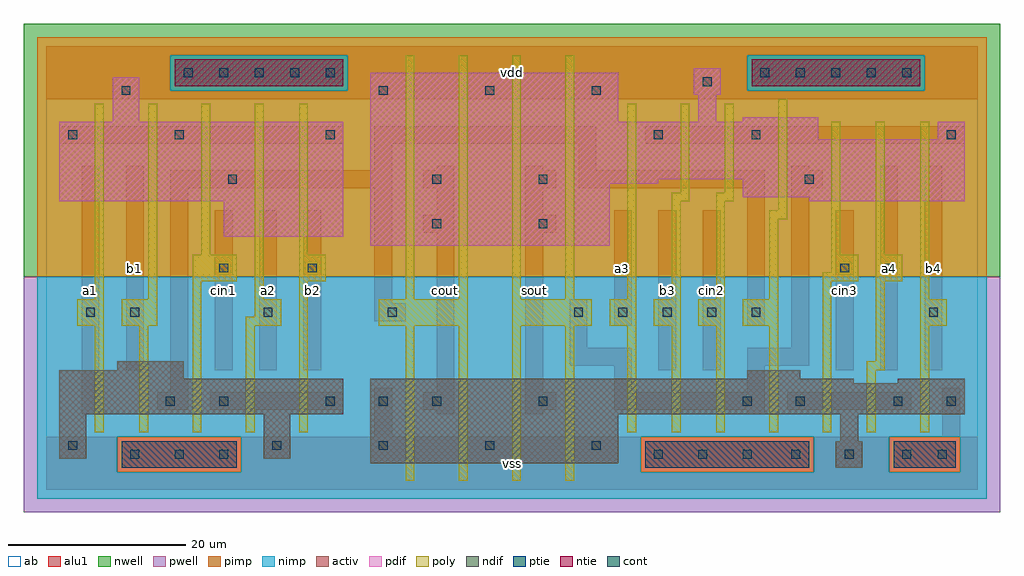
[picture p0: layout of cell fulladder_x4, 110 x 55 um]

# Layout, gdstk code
import gdstk
lib = gdstk.Library(unit=1e-6, precision=1e-09)
def R(c, l, rs):  # rectangles x0, y0, x1, y1
    for r in rs: c.add(gdstk.rectangle(r[:2], r[2:], *l))
def A(c, l, x, y, w, h, nx, ny, dx, dy):  # array of equal rectangles
    R(c, l, [(x+i*dx, y+j*dy, x+i*dx+w, y+j*dy+h) for i in range(nx) for j in range(ny)])
ndif = (3, 0)
pdif = (4, 0)
ntie = (5, 0)
ptie = (6, 0)
cont = (25, 0)
pwell = (41, 0)
nwell = (42, 0)
activ = (43, 0)
pimp = (44, 0)
nimp = (45, 0)
poly = (46, 0)
alu1 = (49, 0)
ab = (63, 0)

fulladder_x4 = lib.new_cell('fulladder_x4')
R(fulladder_x4, ndif, [(89,2.5,92,5.5), (36.5,3,64.5,8.5), (1.5,3.5,4.5,8.5), (24.5,3.5,27.5,8.5), (89.5,5.5,91.5,8.5), (1.5,8.5,33.5,12.5), (36.5,8.5,103.5,12), (36.5,12,91,12.5), (96,12,103.5,12.5), (1.5,12.5,15.5,13.5), (79,12.5,85,13.5), (8,13.5,15.5,14.5)])
R(fulladder_x4, pdif, [(36.5,27.5,63.5,34.5), (20,28.5,33.5,32.5), (1.5,32.5,33.5,41.5), (86,32.5,103.5,33), (78.5,33,103.5,35), (36.5,34.5,69,35), (36.5,35,103.5,39.5), (36.5,39.5,87,41.5), (100.5,39.5,103.5,41.5), (7.5,41.5,10.5,46.5), (36.5,41.5,64.5,47), (73.5,41.5,75.5,44.5), (78.5,41.5,87,42), (73,44.5,76,47.5)])
R(fulladder_x4, ntie, [(14.5,45.5,33.5,48.5), (79.5,45.5,98.5,48.5)])
R(fulladder_x4, ptie, [(8.5,2.5,21.5,5.5), (67.5,2.5,86,5.5), (95.5,2.5,102.5,5.5)])
A(fulladder_x4, cont, 9.5, 3.5, 1, 1, 3, 1, 5, 0)
A(fulladder_x4, cont, 68.5, 3.5, 1, 1, 3, 1, 5, 0)
A(fulladder_x4, cont, 25.5, 4.5, 1, 1, 4, 1, 12, 0)
A(fulladder_x4, cont, 31.5, 9.5, 1, 1, 3, 1, 6, 0)
A(fulladder_x4, cont, 59.5, 19.5, 1, 1, 5, 1, 5, 0)
A(fulladder_x4, cont, 37.5, 44.5, 1, 1, 3, 1, 12, 0)
A(fulladder_x4, cont, 15.5, 46.5, 1, 1, 5, 1, 4, 0)
A(fulladder_x4, cont, 80.5, 46.5, 1, 1, 5, 1, 4, 0)
R(fulladder_x4, cont, [(84,3.5,85,4.5), (90,3.5,91,4.5), (96.5,3.5,97.5,4.5), (100.5,3.5,101.5,4.5), (2.5,4.5,3.5,5.5), (13.5,9.5,14.5,10.5), (19.5,9.5,20.5,10.5), (55.5,9.5,56.5,10.5), (78.5,9.5,79.5,10.5), (84.5,9.5,85.5,10.5), (95.5,9.5,96.5,10.5), (101.5,9.5,102.5,10.5), (4.5,19.5,5.5,20.5), (9.5,19.5,10.5,20.5), (24.5,19.5,25.5,20.5), (38.5,19.5,39.5,20.5), (99.5,19.5,100.5,20.5), (19.5,24.5,20.5,25.5), (29.5,24.5,30.5,25.5), (89.5,24.5,90.5,25.5), (94.5,24.5,95.5,25.5), (43.5,29.5,44.5,30.5), (55.5,29.5,56.5,30.5), (20.5,34.5,21.5,35.5), (43.5,34.5,44.5,35.5), (55.5,34.5,56.5,35.5), (85.5,34.5,86.5,35.5), (2.5,39.5,3.5,40.5), (14.5,39.5,15.5,40.5), (31.5,39.5,32.5,40.5), (68.5,39.5,69.5,40.5), (79.5,39.5,80.5,40.5), (101.5,39.5,102.5,40.5), (8.5,44.5,9.5,45.5), (74,45.5,75,46.5)])
R(fulladder_x4, pwell, [(-2.5,-2.5,107.5,24)])
R(fulladder_x4, nwell, [(-2.5,24,107.5,52.5)])
R(fulladder_x4, activ, [(8.5,2.5,21.5,5.5), (67.5,2.5,86,5.5), (89,2.5,92,5.5), (95.5,2.5,102.5,5.5), (36.5,3,64.5,8.5), (1.5,3.5,4.5,8.5), (24.5,3.5,27.5,8.5), (89.5,5.5,91.5,8.5), (1.5,8.5,33.5,12.5), (36.5,8.5,103.5,12), (36.5,12,91,12.5), (96,12,103.5,12.5), (1.5,12.5,15.5,13.5), (79,12.5,85,13.5), (8,13.5,15.5,14.5), (36.5,27.5,63.5,34.5), (20,28.5,33.5,32.5), (1.5,32.5,33.5,41.5), (86,32.5,103.5,33), (78.5,33,103.5,35), (36.5,34.5,69,35), (36.5,35,103.5,39.5), (36.5,39.5,87,41.5), (100.5,39.5,103.5,41.5), (7.5,41.5,10.5,46.5), (36.5,41.5,64.5,47), (73.5,41.5,75.5,44.5), (78.5,41.5,87,42), (73,44.5,76,47.5), (14.5,45.5,33.5,48.5), (79.5,45.5,98.5,48.5)])
R(fulladder_x4, pimp, [(8,2,22,6), (67,2,86.5,6), (95,2,103,6), (-1,24,106,45), (-1,45,14,49), (34,45,79,49), (99,45,106,49), (-1,49,106,51)])
R(fulladder_x4, nimp, [(-1,-1,106,2), (-1,2,8,6), (22,2,67,6), (86.5,2,95,6), (103,2,106,6), (-1,6,106,24), (14,45,34,49), (79,45,99,49)])
A(fulladder_x4, poly, 40.5, 1, 1, 17.5, 4, 1, 6, 0)
A(fulladder_x4, poly, 65.5, 6.5, 1, 12, 3, 1, 5, 0)
A(fulladder_x4, poly, 63.5, 18.5, 3, 3, 3, 1, 5, 0)
A(fulladder_x4, poly, 40.5, 21.5, 1, 27.5, 4, 1, 6, 0)
R(fulladder_x4, poly, [(5.5,6.5,6.5,18.5), (10.5,6.5,11.5,18.5), (16.5,6.5,17.5,23.5), (22.5,6.5,23.5,18.5), (28.5,6.5,29.5,23.5), (81.5,6.5,82.5,18.5), (87.5,6.5,88.5,23.5), (92.5,6.5,93.5,13.5), (98.5,6.5,99.5,18.5), (92.5,13.5,94.5,14.5), (93.5,14.5,94.5,23.5), (3.5,18.5,6.5,21.5), (8.5,18.5,12.5,21.5), (22.5,18.5,26.5,19.5), (37.5,18.5,47.5,21.5), (52.5,18.5,61.5,21.5), (78.5,18.5,82.5,21.5), (98.5,18.5,101.5,21.5), (23.5,19.5,26.5,21.5), (5.5,21.5,6.5,43.5), (11.5,21.5,12.5,43.5), (23.5,21.5,24.5,43.5), (65.5,21.5,66.5,43.5), (70.5,21.5,71.5,32.5), (75.5,21.5,76.5,32.5), (81.5,21.5,82.5,30.5), (98.5,21.5,99.5,41.5), (16.5,23.5,21.5,26.5), (28.5,23.5,31.5,26.5), (87.5,23.5,91.5,24.5), (93.5,23.5,96.5,26.5), (88.5,24.5,91.5,26.5), (17.5,26.5,18.5,43.5), (28.5,26.5,29.5,43.5), (88.5,26.5,89.5,41.5), (93.5,26.5,94.5,41.5), (81.5,30.5,83.5,31.5), (82.5,31.5,83.5,44), (70.5,32.5,72.5,33.5), (75.5,32.5,77.5,33.5), (71.5,33.5,72.5,43.5), (76.5,33.5,77.5,43.5)])
R(fulladder_x4, alu1, [(0,0,105,6), (0,0,105,6), (37,6,39,11.5), (37,6,39,11.5), (101,6,103,11.5), (101,6,103,11.5), (4,8.5,6,36.5), (4,8.5,6,36.5), (44,8.5,46,9), (44,8.5,46,9), (54,8.5,56,9), (54,8.5,56,9), (79,8.5,81,9), (79,8.5,81,9), (12.5,9,16,11), (12.5,9,16,11), (18.5,9,33.5,11), (18.5,9,33.5,11), (42.5,9,46,11), (42.5,9,46,11), (54,9,57.5,11), (54,9,57.5,11), (64,9,81,11), (64,9,81,11), (83.5,9,97.5,11), (83.5,9,97.5,11), (14,11,16,34), (14,11,16,34), (44,11,46,29), (44,11,46,29), (54,11,56,29), (54,11,56,29), (64,11,66,14), (64,11,66,14), (79,11,81,14), (79,11,81,14), (9,13.5,11,36.5), (9,13.5,11,36.5), (19,13.5,21,31.5), (19,13.5,21,31.5), (24,13.5,26,31.5), (24,13.5,26,31.5), (29,13.5,31,31.5), (29,13.5,31,31.5), (69,13.5,71,31.5), (69,13.5,71,31.5), (74,13.5,76,31.5), (74,13.5,76,31.5), (89,13.5,91,31.5), (89,13.5,91,31.5), (94,13.5,96,36.5), (94,13.5,96,36.5), (99,13.5,101,36.5), (99,13.5,101,36.5), (59,14,66,16), (59,14,66,16), (79,14,86,16), (79,14,86,16), (59,16,61,21.5), (59,16,61,21.5), (84,16,86,34), (84,16,86,34), (64,18.5,66,31.5), (64,18.5,66,31.5), (79,18.5,81,34), (79,18.5,81,34), (37,19,40.5,21), (37,19,40.5,21), (37,21,39,34), (37,21,39,34), (42.5,29,46,31), (42.5,29,46,31), (54,29,57.5,31), (54,29,57.5,31), (44,31,46,34), (44,31,46,34), (54,31,56,34), (54,31,56,34), (14,34,39,36), (14,34,39,36), (42.5,34,46,36), (42.5,34,46,36), (54,34,57.5,36), (54,34,57.5,36), (60,34,81,36), (60,34,81,36), (84,34,87.5,36), (84,34,87.5,36), (37,36,39,39), (37,36,39,39), (44,36,46,36.5), (44,36,46,36.5), (54,36,56,36.5), (54,36,56,36.5), (60,36,62,39), (60,36,62,39), (84,36,86,36.5), (84,36,86,36.5), (1.5,39,33.5,41), (1.5,39,33.5,41), (37,39,62,41), (37,39,62,41), (67.5,39,103.5,41), (67.5,39,103.5,41), (0,44,105,50), (0,44,105,50)])
R(fulladder_x4, ab, [(0,0,105,50)])
fulladder_x4.add(gdstk.Label('b1', (10,25), layer=49, texttype=0))
fulladder_x4.add(gdstk.Label('a1', (5,22.5), layer=49, texttype=0))
fulladder_x4.add(gdstk.Label('cin1', (20,22.5), layer=49, texttype=0))
fulladder_x4.add(gdstk.Label('a2', (25,22.5), layer=49, texttype=0))
fulladder_x4.add(gdstk.Label('b2', (30,22.5), layer=49, texttype=0))
fulladder_x4.add(gdstk.Label('vss', (52.5,3), layer=49, texttype=0))
fulladder_x4.add(gdstk.Label('cout', (45,22.5), layer=49, texttype=0))
fulladder_x4.add(gdstk.Label('sout', (55,22.5), layer=49, texttype=0))
fulladder_x4.add(gdstk.Label('vdd', (52.5,47), layer=49, texttype=0))
fulladder_x4.add(gdstk.Label('a3', (65,25), layer=49, texttype=0))
fulladder_x4.add(gdstk.Label('b3', (70,22.5), layer=49, texttype=0))
fulladder_x4.add(gdstk.Label('cin2', (75,22.5), layer=49, texttype=0))
fulladder_x4.add(gdstk.Label('b4', (100,25), layer=49, texttype=0))
fulladder_x4.add(gdstk.Label('a4', (95,25), layer=49, texttype=0))
fulladder_x4.add(gdstk.Label('cin3', (90,22.5), layer=49, texttype=0))

lib.write_gds('fulladder_x4.gds')
